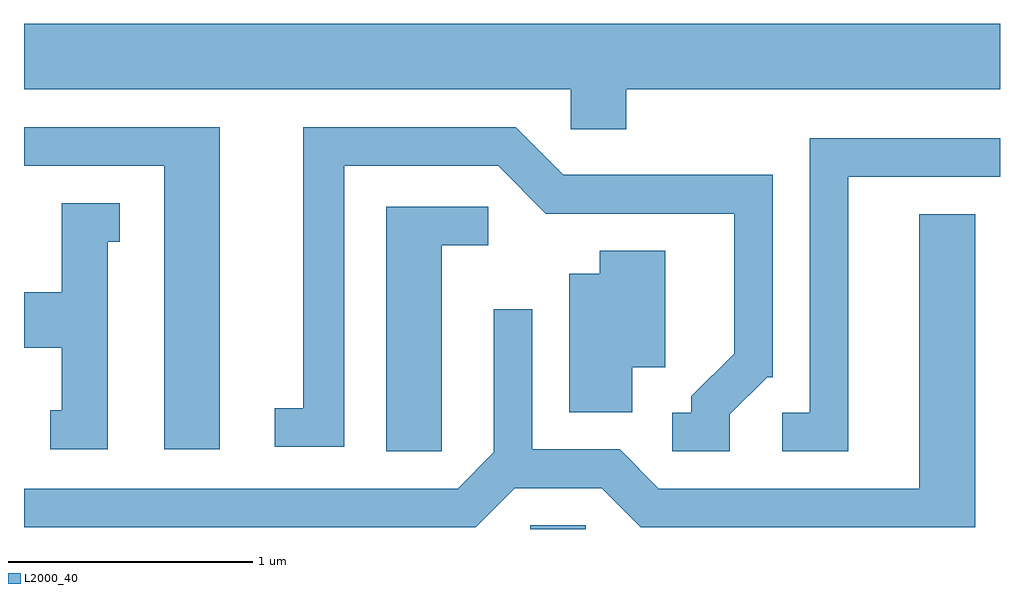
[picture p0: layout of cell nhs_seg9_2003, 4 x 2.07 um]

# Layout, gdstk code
import gdstk
lib = gdstk.Library(unit=1e-6, precision=1e-09)
def R(c, l, rs):  # rectangles x0, y0, x1, y1
    for r in rs: c.add(gdstk.rectangle(r[:2], r[2:], *l))
def P(c, l, *ps):  # polygons
    for p in ps: c.add(gdstk.Polygon(p, *l))
L2000_40 = (2000, 40)

nhs_seg9_2003 = lib.new_cell('nhs_seg9_2003')
R(nhs_seg9_2003, L2000_40, [(245.686,2014.432,245.914,2014.449)])
P(nhs_seg9_2003, L2000_40, [(246.079,2016.236),(247.611,2016.236),(247.611,2016.504),(243.611,2016.504),(243.611,2016.236),(245.851,2016.236),(245.851,2016.071),(246.079,2016.071)],
  [(246.504,2014.904),(246.657,2015.056),(246.679,2015.056),(246.679,2015.884),(245.822,2015.884),(245.627,2016.079),(244.756,2016.079),(244.756,2014.929),(244.638,2014.929),(244.638,2014.771),(244.924,2014.771),(244.924,2015.921),(245.554,2015.921),(245.749,2015.726),(246.521,2015.726),(246.521,2015.152),(246.346,2014.977),(246.346,2014.909),(246.268,2014.909),(246.268,2014.751),(246.504,2014.751)],
  [(244.414,2016.079),(243.611,2016.079),(243.611,2015.921),(244.186,2015.921),(244.186,2014.761),(244.414,2014.761)],
  [(246.989,2015.876),(247.611,2015.876),(247.611,2016.034),(246.831,2016.034),(246.831,2014.909),(246.718,2014.909),(246.718,2014.751),(246.989,2014.751)],
  [(243.954,2015.611),(244.003,2015.611),(244.003,2015.769),(243.766,2015.769),(243.766,2015.404),(243.611,2015.404),(243.611,2015.176),(243.766,2015.176),(243.766,2014.919),(243.718,2014.919),(243.718,2014.761),(243.954,2014.761)],
  [(245.324,2015.596),(245.513,2015.596),(245.513,2015.754),(245.096,2015.754),(245.096,2014.751),(245.324,2014.751)],
  [(245.622,2014.601),(245.979,2014.601),(246.139,2014.441),(247.509,2014.441),(247.509,2015.724),(247.281,2015.724),(247.281,2014.599),(246.212,2014.599),(246.052,2014.759),(245.694,2014.759),(245.694,2015.333),(245.536,2015.333),(245.536,2014.747),(245.389,2014.599),(243.611,2014.599),(243.611,2014.441),(245.462,2014.441)],
  [(246.104,2015.096),(246.239,2015.096),(246.239,2015.574),(245.971,2015.574),(245.971,2015.479),(245.846,2015.479),(245.846,2014.911),(246.104,2014.911)])

lib.write_gds('nhs_seg9_2003.gds')
